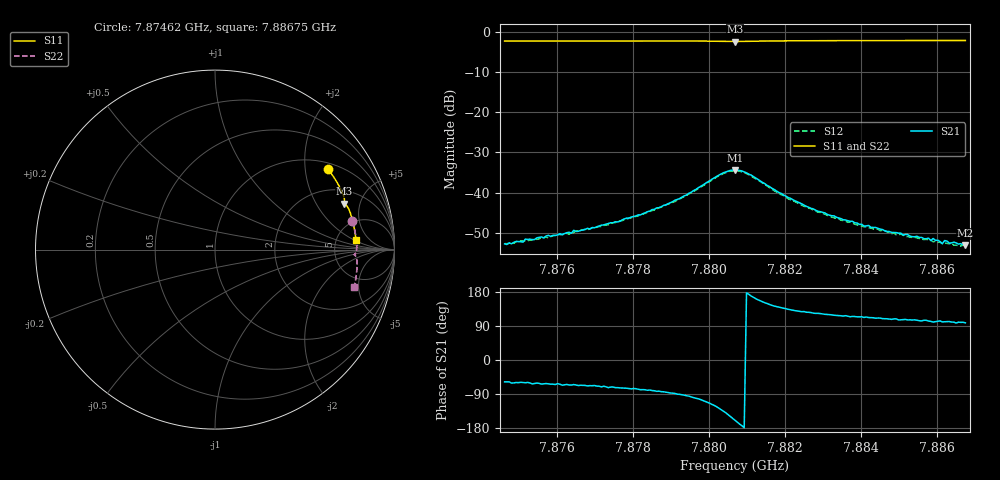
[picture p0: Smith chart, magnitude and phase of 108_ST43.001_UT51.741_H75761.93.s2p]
#  HZ  S  DB  R  50.00
! Rohde & Schwarz Vector Network Analyzer
! Rohde-Schwarz,ZNB20-2Port,1311601062101988,3.16
! Created: UTC 1/12/2023, 6:37:16 PM
! freq[Hz]  db:S11  ang:S11  db:S21  ang:S21  db:S12  ang:S12  db:S22  ang:S22
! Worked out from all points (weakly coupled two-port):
!   201 points, 7.87462 GHz to 7.88675 GHz, reference 50 ohm
!   highest |S21| = -34.34 dB at 7.88068 GHz (marker M1); lowest = -53.1 dB at 7.88675 GHz (marker M2)
!   lowest |S11| = -2.3 dB at 7.88068 GHz (marker M3), VSWR 7.46, Z = 144 + j177 ohm
!   |S11| at or under -10 dB: nowhere
!   |S22| runs from -2.2 to -1.9 dB; largest |S21 - S12| = 0.0013
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7.874616e9  -2.24 35.6  -52.77 -57.7  -52.69 -60.9  -2.14 11.6
7.875101e9  -2.23 34.3  -52.35 -59.5  -52.09 -62.2  -2.12 10.4
7.875162e9  -2.23 34.1  -51.58 -60.0  -51.99 -64.9  -2.12 10.3
7.875405e9  -2.23 33.5  -51.69 -61.9  -51.40 -64.5  -2.12 9.7
7.875769e9  -2.22 32.5  -50.65 -62.9  -51.31 -68.1  -2.10 8.8
7.876678e9  -2.20 30.0  -49.32 -67.0  -49.24 -70.1  -2.08 6.7
7.877346e9  -2.20 28.2  -47.71 -73.0  -48.03 -74.1  -2.06 5.1
7.87868e9  -2.19 24.5  -43.76 -82.3  -43.77 -85.8  -2.05 2.0
7.879105e9  -2.19 23.3  -41.86 -88.5  -42.22 -92.0  -2.04 0.9
7.880378e9  -2.31 19.9  -35.04 -135.2  -35.24 -138.3  -2.17 -1.9
7.880682e9  -2.34 19.6  -34.34 -158.9  -34.53 -162.3  -2.21 -2.1
7.881106e9  -2.28 19.1  -35.63 168.9  -35.84 165.8  -2.14 -2.4
7.882077e9  -2.16 16.5  -41.20 133.9  -41.49 130.5  -2.01 -4.6
7.882744e9  -2.14 14.7  -44.06 123.7  -44.40 120.9  -1.98 -6.1
7.884078e9  -2.11 11.0  -48.33 112.3  -48.54 109.3  -1.94 -9.1
7.884745e9  -2.10 9.3  -49.70 108.0  -49.96 105.4  -1.94 -10.7
7.885776e9  -2.09 6.6  -51.36 102.7  -51.75 100.9  -1.93 -12.9
7.885837e9  -2.09 6.4  -51.94 101.9  -51.87 101.3  -1.93 -13.0
7.885898e9  -2.09 6.3  -51.43 100.2  -52.27 100.1  -1.92 -13.1
7.88614e9  -2.09 5.6  -52.73 100.5  -52.70 98.7  -1.91 -13.7
7.886201e9  -2.09 5.5  -51.95 101.0  -52.50 99.1  -1.92 -13.8
7.886747e9  -2.08 4.0  -53.08 98.1  -53.31 97.4  -1.92 -15.0
